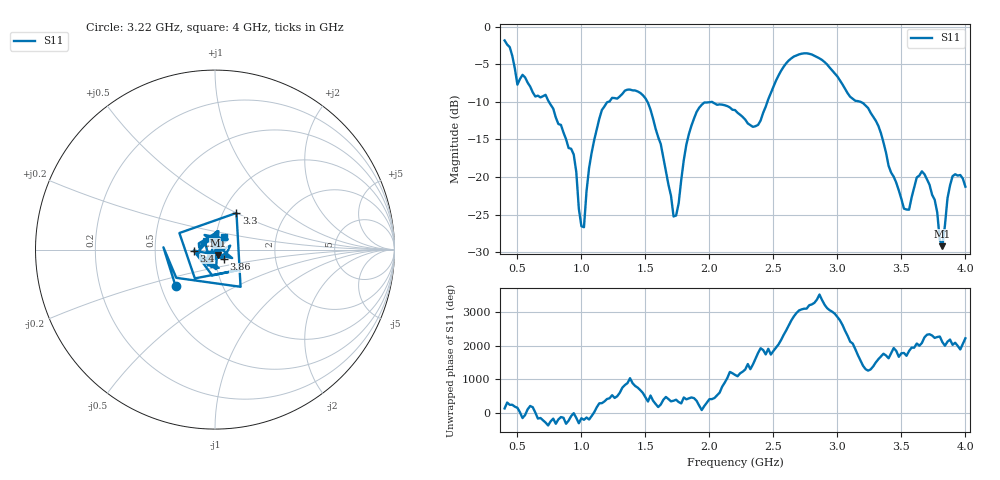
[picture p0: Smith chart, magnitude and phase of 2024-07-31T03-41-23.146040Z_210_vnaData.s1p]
!Created with skrf (http://scikit-rf.org).
# Hz S RI R 50.0
!freq ReS11 ImS11
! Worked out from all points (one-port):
!   181 points, 400 MHz to 4 GHz, reference 50 ohm
!   lowest |S11| = -29.2 dB at 3.82 GHz (marker M1), VSWR 1.07, Z = 51.8 - j3.04 ohm
!   |S11| at or under -10 dB: 746.3 MHz to 1.211 GHz (464.9 MHz wide, 47.5 % of centre); 1.516 GHz to 2.453 GHz (937.1 MHz wide, 47.2 % of centre); 3.181 GHz to end of sweep
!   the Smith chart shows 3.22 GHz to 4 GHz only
!   S11 on the Smith chart (normalised r, x): 3.22 GHz: 0.60, -0.26; 3.3 GHz: 1.16, +0.50; 3.4 GHz: 0.79, -0.01; 3.86 GHz: 1.09, -0.12; 4 GHz: 1.10, +0.15
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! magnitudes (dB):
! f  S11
! 400 MHz  -1.8
! 500 MHz  -7.7
! 720 MHz  -9.1
! 860 MHz  -14.1
! 940 MHz  -17.0
! 1.02 GHz  -26.7
! 1.06 GHz  -18.8
! 1.14 GHz  -12.2
! 1.3 GHz  -9.3
! 1.52 GHz  -10.1
! 1.72 GHz  -25.3
! 1.76 GHz  -23.5
! 1.82 GHz  -15.7
! 1.9 GHz  -11.3
! 2.2 GHz  -11.1
! 2.38 GHz  -13.1
! 2.66 GHz  -4.0
! 3.1 GHz  -9.3
! 3.22 GHz  -10.5
! 3.3 GHz  -12.5
! 3.4 GHz  -18.5
! 3.56 GHz  -24.4
! 3.66 GHz  -19.3
! 3.76 GHz  -23.0
! 3.82 GHz  -29.2
! 3.86 GHz  -22.9
! 3.92 GHz  -19.6
! 4 GHz  -21.3
